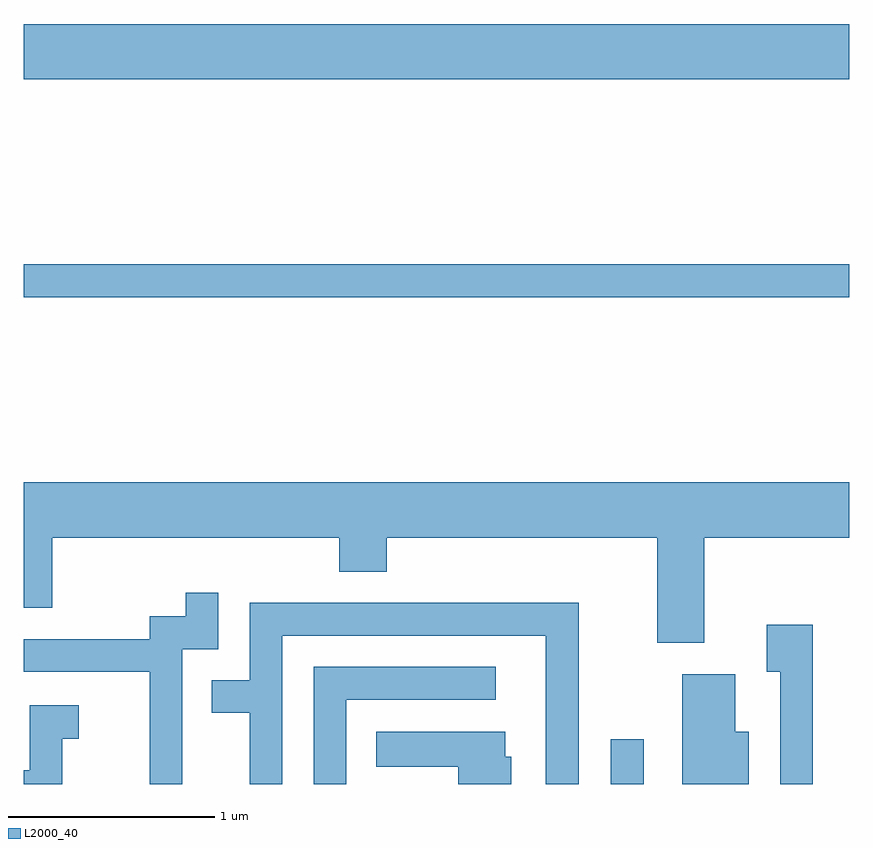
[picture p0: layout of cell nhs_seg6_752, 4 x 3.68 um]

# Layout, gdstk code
import gdstk
lib = gdstk.Library(unit=1e-6, precision=1e-09)
def R(c, l, rs):  # rectangles x0, y0, x1, y1
    for r in rs: c.add(gdstk.rectangle(r[:2], r[2:], *l))
def P(c, l, *ps):  # polygons
    for p in ps: c.add(gdstk.Polygon(p, *l))
L2000_40 = (2000, 40)

nhs_seg6_752 = lib.new_cell('nhs_seg6_752')
R(nhs_seg6_752, L2000_40, [(210.456,1562.162,210.614,1562.378), (207.611,1564.521,211.611,1564.679), (207.611,1565.576,211.611,1565.844)])
P(nhs_seg6_752, L2000_40, [(210.909,1563.356),(211.611,1563.356),(211.611,1563.624),(207.611,1563.624),(207.611,1563.016),(207.749,1563.016),(207.749,1563.356),(209.141,1563.356),(209.141,1563.191),(209.369,1563.191),(209.369,1563.356),(210.681,1563.356),(210.681,1562.846),(210.909,1562.846)],
  [(208.379,1562.816),(208.554,1562.816),(208.554,1563.088),(208.396,1563.088),(208.396,1562.974),(208.221,1562.974),(208.221,1562.864),(207.611,1562.864),(207.611,1562.706),(208.221,1562.706),(208.221,1562.162),(208.379,1562.162)],
  [(208.864,1562.881),(210.141,1562.881),(210.141,1562.162),(210.299,1562.162),(210.299,1563.039),(208.706,1563.039),(208.706,1562.664),(208.523,1562.664),(208.523,1562.506),(208.706,1562.506),(208.706,1562.162),(208.864,1562.162)],
  [(211.434,1562.934),(211.211,1562.934),(211.211,1562.706),(211.276,1562.706),(211.276,1562.162),(211.434,1562.162)],
  [(209.174,1562.571),(209.898,1562.571),(209.898,1562.729),(209.016,1562.729),(209.016,1562.162),(209.174,1562.162)],
  [(211.124,1562.414),(211.059,1562.414),(211.059,1562.694),(210.801,1562.694),(210.801,1562.162),(211.124,1562.162)],
  [(207.799,1562.381),(207.878,1562.381),(207.878,1562.544),(207.641,1562.544),(207.641,1562.229),(207.611,1562.229),(207.611,1562.162),(207.799,1562.162)],
  [(209.974,1562.294),(209.944,1562.294),(209.944,1562.414),(209.318,1562.414),(209.318,1562.246),(209.716,1562.246),(209.716,1562.162),(209.974,1562.162)])

lib.write_gds('nhs_seg6_752.gds')
